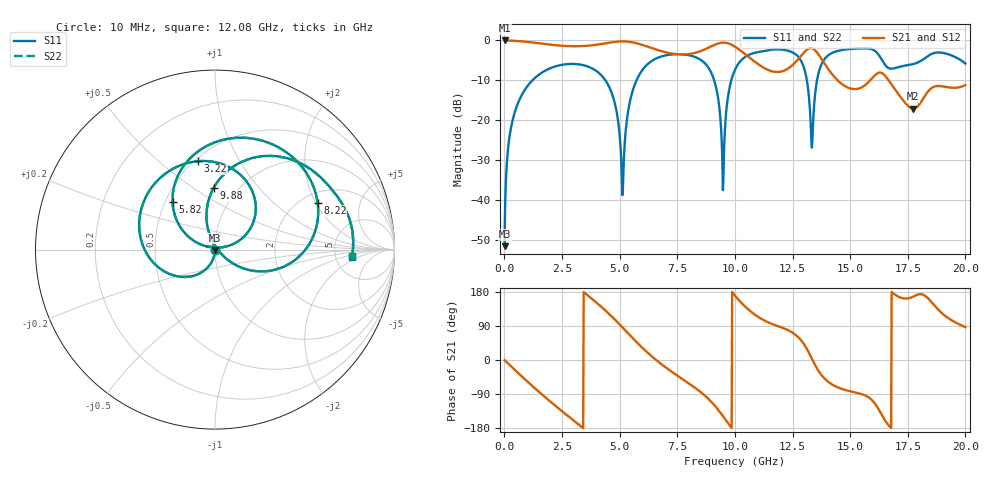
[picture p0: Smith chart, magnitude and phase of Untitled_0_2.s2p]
! TOUCHSTONE file generated by CST MICROWAVE STUDIO
! Date and time: Tue Oct 21 13:47:27 2025
! Project name: Untitled_0.cst
! Parameters = {E4_4=4.4; E4_3=0.85; E4_2=9.925; E4_1=10.075; E3_4=4.25; E3_3=0.85; E3_2=9.7; E3_1=10.3; E2_4=0.85; E2_3=-0.85; E2_2=11.85; E2_1=8.15; y=0.017; x=0; Tr6=-2; Tr5=2; Tr4=11; Tr3=2; Tr2=15; Tr1=-5; g3=3; g2=2; g1=0.15; E1_4=1; E1_3=-1; E1_2=12; E1_1=8; SP3_2_6=3.5; SP3_2_5=3.5; SP3_2_4=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
! Header version: 2018
! Port assignment regex: !\s*Touchstone port\s*([0-9]+)\s*=\s*(CST MWS port|CST DS port)\s*([0-9]+|Zmin|Zmax)\s*\(\"(.*)\"\)(\s*mode\s*([0-9]+))?.*
! Touchstone port assignment:
! Touchstone port 1 = CST MWS port 1 ("")
! Touchstone port 2 = CST MWS port 2 ("")
# GHz S DB R 50
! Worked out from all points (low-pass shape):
!   1004 points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, 10 MHz to 20 GHz, reference 50 ohm
!   highest |S21| = 0.00 dB at 10 MHz (marker M1); lowest = -17.1 dB at 17.74 GHz (marker M2)
!   |S21| within 3 dB of the highest: start of sweep to 7.022 GHz; 8.342 GHz to 10.35 GHz (2.005 GHz wide, 21.5 % of centre)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
!   lowest |S11| = -51.6 dB at 10 MHz (marker M3), VSWR 1.01, Z = 50 - j0.263 ohm
!   |S11| at or under -10 dB: start of sweep to 1.218 GHz; 4.382 GHz to 5.733 GHz (1.351 GHz wide, 26.7 % of centre); 9.101 GHz to 9.844 GHz (743 MHz wide, 7.84 % of centre)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
!   |S22| runs from -51.8 to -2.0 dB; largest |S21 - S12| = 0.0011
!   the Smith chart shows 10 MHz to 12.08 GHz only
!   S11 on the Smith chart (normalised r, x): 10 MHz: 1.00, -0.01; 3.22 GHz: 0.52, +0.68; 5.82 GHz: 0.55, +0.33; 8.22 GHz: 2.42, +2.07; 9.88 GHz: 0.78, +0.61; 12.08 GHz: 7.22, -1.44
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0.01  -51.60 -91.6  -0.00 -0.6  -0.00 -0.6  -51.79 -91.6
0.22  -24.20 -103.0  -0.03 -12.7  -0.03 -12.7  -24.21 -102.9
0.66  -14.79 -128.0  -0.18 -37.9  -0.18 -37.9  -14.79 -128.0
1.76  -7.61 172.2  -0.90 -97.7  -0.90 -97.7  -7.62 172.2
3.22  -5.99 101.0  -1.45 -170.1  -1.45 -170.1  -5.99 101.0
3.36  -6.12 94.4  -1.43 -176.9  -1.43 -176.9  -6.12 94.4
4.6  -12.35 32.5  -0.52 118.3  -0.52 118.3  -12.35 32.5
5.12  -38.81 72.9  -0.23 86.3  -0.23 86.3  -39.01 76.0
5.82  -8.96 131.6  -0.83 42.0  -0.83 42.0  -8.96 131.6
6.68  -4.29 86.6  -2.46 -4.7  -2.46 -4.7  -4.29 86.6
8.22  -4.04 24.4  -3.19 -71.2  -3.19 -71.2  -4.04 24.5
9.08  -9.63 -20.9  -1.19 -117.2  -1.19 -117.2  -9.63 -20.8
9.48  -37.54 10.6  -0.55 -147.9  -0.55 -147.9  -37.23 11.3
9.88  -9.28 91.3  -1.14 179.3  -1.14 179.3  -9.29 91.3
10.02  -7.17 81.6  -1.62 168.7  -1.62 168.7  -7.18 81.6
12.08  -2.33 -3.1  -7.69 84.7  -7.69 84.7  -2.34 -2.8
12.94  -5.95 -53.8  -3.40 46.7  -3.40 46.7  -5.91 -53.6
13.34  -26.89 174.7  -1.97 3.5  -1.97 3.5  -26.41 178.6
14.08  -3.59 24.4  -7.42 -59.0  -7.42 -59.0  -3.59 24.9
16.68  -6.96 -47.4  -10.09 -173.0  -10.10 -173.0  -7.05 -46.9
17.74  -5.91 -36.0  -17.12 167.4  -17.12 167.4  -5.84 -35.4
20  -5.81 -82.9  -11.17 86.5  -11.17 86.5  -5.81 -82.2
